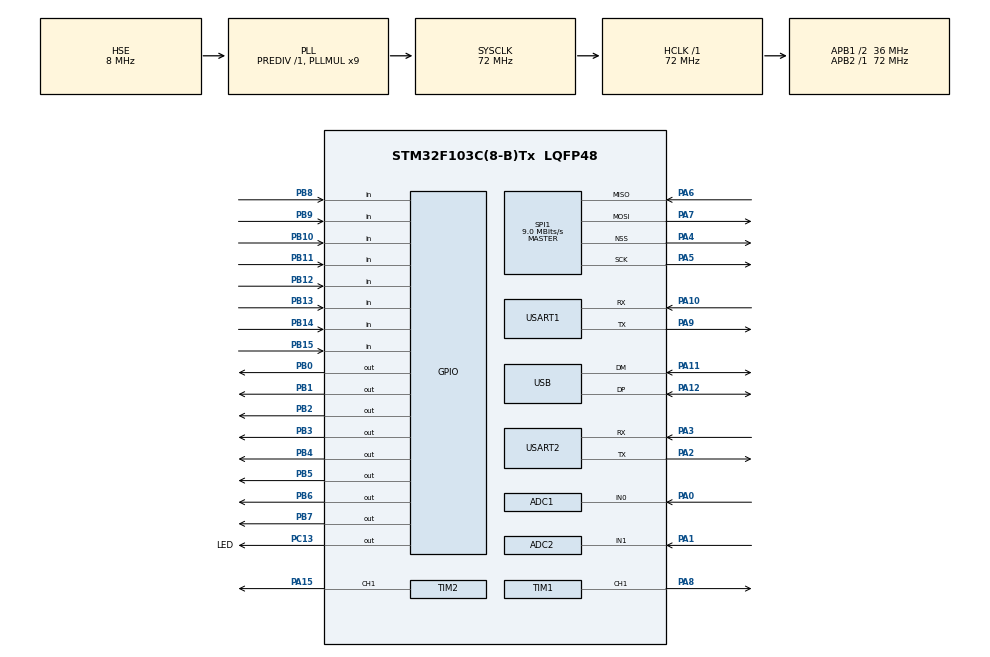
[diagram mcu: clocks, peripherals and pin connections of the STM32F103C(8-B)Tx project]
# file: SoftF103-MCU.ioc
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ADC1.Channel-0\#ChannelRegularConversion=ADC_CHANNEL_0
ADC1.Mode=__NULL
ADC1.NbrOfConversionFlag=1
ADC1.Rank-0\#ChannelRegularConversion=1
ADC1.SamplingTime-0\#ChannelRegularConversion=ADC_SAMPLETIME_239CYCLES_5
ADC1.master=1
ADC2.Channel-1\#ChannelRegularConversion=ADC_CHANNEL_1
ADC2.NbrOfConversionFlag=1
ADC2.Rank-1\#ChannelRegularConversion=1
ADC2.SamplingTime-1\#ChannelRegularConversion=ADC_SAMPLETIME_239CYCLES_5
Dma.ADC1.0.Direction=DMA_PERIPH_TO_MEMORY
Dma.ADC1.0.Instance=DMA1_Channel1
Dma.ADC1.0.MemDataAlignment=DMA_MDATAALIGN_HALFWORD
Dma.ADC1.0.MemInc=DMA_MINC_ENABLE
Dma.ADC1.0.Mode=DMA_NORMAL
Dma.ADC1.0.PeriphDataAlignment=DMA_PDATAALIGN_HALFWORD
Dma.ADC1.0.PeriphInc=DMA_PINC_DISABLE
Dma.ADC1.0.Priority=DMA_PRIORITY_LOW
Dma.Request0=ADC1
Mcu.Family=STM32F1
Mcu.Name=STM32F103C(8-B)Tx
Mcu.Package=LQFP48
NVIC.ADC1_2_IRQn=true\:12\:0\:true\:false\:true\:true\:true
NVIC.DMA1_Channel1_IRQn=true\:0\:0\:false\:false\:true\:false\:true
NVIC.PriorityGroup=NVIC_PRIORITYGROUP_4
NVIC.SPI1_IRQn=true\:9\:0\:true\:false\:true\:true\:true
NVIC.TIM1_UP_IRQn=true\:0\:0\:true\:false\:true\:true\:true
NVIC.TIM2_IRQn=true\:1\:0\:true\:false\:true\:true\:true
NVIC.USART1_IRQn=true\:10\:0\:true\:false\:true\:true\:true
NVIC.USART2_IRQn=true\:11\:0\:true\:false\:true\:true\:true
NVIC.USB_LP_CAN1_RX0_IRQn=true\:2\:0\:true\:false\:true\:false\:true
PA0-WKUP.Signal=ADCx_IN0
PA1.Signal=ADCx_IN1
PA10.GPIO_PuPd=GPIO_PULLUP
PA10.Mode=Asynchronous
PA10.Signal=USART1_RX
PA11.Mode=Device
PA11.Signal=USB_DM
PA12.Mode=Device
PA12.Signal=USB_DP
PA13.Mode=Serial_Wire
PA13.Signal=SYS_JTMS-SWDIO
PA14.Mode=Serial_Wire
PA14.Signal=SYS_JTCK-SWCLK
PA15.Signal=S_TIM2_CH1_ETR
PA2.Mode=Asynchronous
PA2.Signal=USART2_TX
PA3.GPIO_PuPd=GPIO_PULLUP
PA3.Mode=Asynchronous
PA3.Signal=USART2_RX
PA4.Mode=NSS_Signal_Hard_Output
PA4.Signal=SPI1_NSS
PA5.Mode=Full_Duplex_Master
PA5.Signal=SPI1_SCK
PA6.Mode=Full_Duplex_Master
PA6.Signal=SPI1_MISO
PA7.Mode=Full_Duplex_Master
PA7.Signal=SPI1_MOSI
PA8.Signal=S_TIM1_CH1
PA9.Mode=Asynchronous
PA9.Signal=USART1_TX
PB0.Signal=GPIO_Output
PB1.Signal=GPIO_Output
PB10.Signal=GPIO_Input
PB11.Signal=GPIO_Input
PB12.Signal=GPIO_Input
PB13.Signal=GPIO_Input
PB14.Signal=GPIO_Input
PB15.Signal=GPIO_Input
PB2.Signal=GPIO_Output
PB3.Signal=GPIO_Output
PB4.Signal=GPIO_Output
PB5.Signal=GPIO_Output
PB6.Signal=GPIO_Output
PB7.Signal=GPIO_Output
PB8.Signal=GPIO_Input
PB9.Signal=GPIO_Input
PC13-TAMPER-RTC.GPIO_Label=LED
PC13-TAMPER-RTC.Signal=GPIO_Output
PC14-OSC32_IN.Mode=LSE-External-Oscillator
PC14-OSC32_IN.Signal=RCC_OSC32_IN
PC15-OSC32_OUT.Mode=LSE-External-Oscillator
PC15-OSC32_OUT.Signal=RCC_OSC32_OUT
PD0-OSC_IN.Mode=HSE-External-Oscillator
PD0-OSC_IN.Signal=RCC_OSC_IN
PD1-OSC_OUT.Mode=HSE-External-Oscillator
PD1-OSC_OUT.Signal=RCC_OSC_OUT
ProjectManager.HeapSize=0x500
ProjectManager.StackSize=0x1500
ProjectManager.TargetToolchain=MDK-ARM V5
RCC.ADCPresc=RCC_ADCPCLK2_DIV6
RCC.AHBFreq_Value=72000000
RCC.APB1CLKDivider=RCC_HCLK_DIV2
RCC.APB1Freq_Value=36000000
RCC.APB1TimFreq_Value=72000000
RCC.APB2Freq_Value=72000000
RCC.APB2TimFreq_Value=72000000
RCC.HCLKFreq_Value=72000000
RCC.PLLMUL=RCC_PLL_MUL9
RCC.PLLSourceVirtual=RCC_PLLSOURCE_HSE
RCC.SYSCLKFreq_VALUE=72000000
RCC.SYSCLKSource=RCC_SYSCLKSOURCE_PLLCLK
RCC.USBFreq_Value=48000000
RCC.USBPrescaler=RCC_USBCLKSOURCE_PLL_DIV1_5
SH.ADCx_IN0.0=ADC1_IN0,IN0
SH.ADCx_IN1.0=ADC2_IN1,IN1
SH.S_TIM1_CH1.0=TIM1_CH1,PWM Generation1 CH1
SH.S_TIM2_CH1_ETR.0=TIM2_CH1,PWM Generation1 CH1
SPI1.BaudRatePrescaler=SPI_BAUDRATEPRESCALER_8
SPI1.CalculateBaudRate=9.0 MBits/s
SPI1.Direction=SPI_DIRECTION_2LINES
SPI1.Mode=SPI_MODE_MASTER
SPI1.VirtualNSS=VM_NSSHARD
SPI1.VirtualType=VM_MASTER
TIM1.Channel-PWM\ Generation1\ CH1=TIM_CHANNEL_1
TIM2.Channel-PWM\ Generation1\ CH1=TIM_CHANNEL_1
USART1.VirtualMode=VM_ASYNC
USART2.VirtualMode=VM_ASYNC
USB_DEVICE.CLASS_NAME_FS=CDC
USB_DEVICE.USBD_MAX_NUM_CONFIGURATION=2
USB_DEVICE.USBD_SELF_POWERED=0
USB_DEVICE.VirtualMode=Cdc
USB_DEVICE.VirtualModeFS=Cdc_FS
VP_USB_DEVICE_VS_USB_DEVICE_CDC_FS.Mode=CDC_FS
board=custom

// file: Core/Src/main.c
/* USER CODE BEGIN Header */
/**
  ******************************************************************************
  * @file           : main.c
  * @brief          : Main program body
  ******************************************************************************
  * @attention
  *
  * <h2><center>&copy; Copyright (c) 2019 STMicroelectronics.
  * All rights reserved.</center></h2>
  *
  * This software component is licensed by ST under BSD 3-Clause license,
  * the "License"; You may not use this file except in compliance with the
  * License. You may obtain a copy of the License at:
  *                        opensource.org/licenses/BSD-3-Clause
  *
  ******************************************************************************
  */
/* USER CODE END Header */

#include "main.h"
#include "adc.h"
#include "dma.h"
#include "spi.h"
#include "tim.h"
#include "usart.h"
#include "usb_device.h"
#include "gpio.h"

/* USER CODE BEGIN Includes */
#define EXTERN_MEM
#define MEM_INITIATOR
#include "softf103.h"
extern void usb_fifo_transmit(void);
SoftF103_Mem_t mem;
SoftIO_t sio;
void __aeabi_assert(const char *expr, const char *file, int line) {
  printf("assert failed: %s(%d): %s\n", file, line, expr); while(1);
}
int fputc(int ch, FILE *f) {
  while (fifo_full(&mem.logging));  // wait others to send
  fifo_enque(&mem.logging, ch);
  USART2->CR1 |= USART_CR1_TXEIE;  // enable tx empty interrupt
	return ch;
}
/* USER CODE END Includes */

void SystemClock_Config(void);

/* USER CODE BEGIN 0 */
void my_before(void* softio, SoftIO_Head_t* head) {
  uint8_t need_disable_irq = 0;
  if (head->type == SOFTIO_HEAD_TYPE_READ || head->type == SOFTIO_HEAD_TYPE_WRITE) {
    if (softio_is_variable_included(sio, *head, mem.gpio_count)) {  // atomic write
      need_disable_irq = 1;
    }
    if (softio_is_variable_included(sio, *head, mem.gpio_count_add)) {  // atomic write
      need_disable_irq = 1;
    }
    if (softio_is_variable_included(sio, *head, mem.adc_count)) {  // atomic write
      need_disable_irq = 1;
    }
    if (softio_is_variable_included(sio, *head, mem.adc_count_add)) {  // atomic write
      need_disable_irq = 1;
    }
  }
  if (head->type == SOFTIO_HEAD_TYPE_READ) {
    if (softio_is_variable_included(sio, *head, mem.gpio_in)) {  // wanna read variable
      mem.gpio_in = GPIOB->IDR >> 8;  // PB15 ~ PB8
    }
    uint8_t softio_is_variable_included_adc1 = softio_is_variable_included(sio, *head, mem.adc1);
    uint8_t softio_is_variable_included_adc2 = softio_is_variable_included(sio, *head, mem.adc2);
    if (softio_is_variable_included_adc1 || softio_is_variable_included_adc2) {
      if (softio_is_variable_included_adc1) mem.adc1 = 0;
      if (softio_is_variable_included_adc2) mem.adc2 = 0;
      if (HAL_ADC_Start(&hadc2) == HAL_OK && HAL_ADC_Start(&hadc1) == HAL_OK) {  // read simultaneous
        if (HAL_ADC_PollForConversion(&hadc2, 100) == HAL_OK && HAL_ADC_PollForConversion(&hadc1, 100) == HAL_OK) {  // timeout = 100ms
          if (softio_is_variable_included_adc1) mem.adc1 = HAL_ADC_GetValue(&hadc1);  // convert to 16bit
          if (softio_is_variable_included_adc2) mem.adc2 = HAL_ADC_GetValue(&hadc2);
        }
      }
    }
  }
  if (need_disable_irq) __disable_irq();
}
void my_after(void* softio, SoftIO_Head_t* head) {
  uint8_t need_enable_irq = 0;
  if (head->type == SOFTIO_HEAD_TYPE_WRITE) {
    if (softio_is_variable_included(sio, *head, mem.gpio_out)) {
      GPIOB->BSRR = mem.gpio_out | ( ((uint32_t)(~mem.gpio_out & 0x0ff))<<16 );  // atomic write
    }
    if (softio_is_variable_included(sio, *head, mem.led)) {
      HAL_GPIO_WritePin(LED_GPIO_Port, LED_Pin, mem.led);
    }
    if (softio_is_variable_included(sio, *head, mem.tim1_prescaler)) TIM1->PSC = mem.tim1_prescaler;
    if (softio_is_variable_included(sio, *head, mem.tim1_period)) TIM1->ARR = mem.tim1_period;
    if (softio_is_variable_included(sio, *head, mem.tim1_pulse)) TIM1->CCR1 = mem.tim1_pulse;
    if (softio_is_variable_included(sio, *head, mem.tim1_PWM)) {
      if (mem.tim1_PWM) {
        TIM1->CCER |= (uint32_t)(TIM_CCx_ENABLE << TIM_CHANNEL_1);  // enable pwm1
        TIM1->BDTR |= TIM_BDTR_MOE;  // only TIM1 needs this
        TIM1->CR1 |= TIM_CR1_CEN;  // enable peripheral
      } else {
        TIM1->CCER &= ~(uint32_t)(TIM_CCx_ENABLE << TIM_CHANNEL_1);  // disable pwm1
      }
    }
    if (softio_is_variable_included(sio, *head, mem.tim1_IT)) {
      if (mem.tim1_IT) {
        TIM1->DIER |= TIM_IT_UPDATE;  // enable interrupt
        TIM1->CR1 |= TIM_CR1_CEN;  // enable peripheral
      } else {
        TIM1->DIER &= ~TIM_IT_UPDATE;  // disable interrupt
      }
    }
    if (softio_is_variable_included(sio, *head, mem.tim2_prescaler)) TIM2->PSC = mem.tim2_prescaler;
    if (softio_is_variable_included(sio, *head, mem.tim2_period)) TIM2->ARR = mem.tim2_period;
    if (softio_is_variable_included(sio, *head, mem.tim2_pulse)) TIM2->CCR1 = mem.tim2_pulse;
    if (softio_is_variable_included(sio, *head, mem.tim2_PWM)) {
      if (mem.tim2_PWM) {
        TIM2->CCER |= (uint32_t)(TIM_CCx_ENABLE << TIM_CHANNEL_1);  // enable pwm1
        TIM2->CR1 |= TIM_CR1_CEN;  // enable peripheral
      } else {
        TIM2->CCER &= ~(uint32_t)(TIM_CCx_ENABLE << TIM_CHANNEL_1);  // disable pwm1
      }
    }
    if (softio_is_variable_included(sio, *head, mem.tim2_IT)) {
      if (mem.tim2_IT) {
        TIM2->DIER |= TIM_IT_UPDATE;  // enable interrupt
        TIM2->CR1 |= TIM_CR1_CEN;  // enable peripheral
      } else {
        TIM2->DIER &= ~TIM_IT_UPDATE;  // disable interrupt
      }
    }
  }
  if (head->type == SOFTIO_HEAD_TYPE_READ || head->type == SOFTIO_HEAD_TYPE_WRITE) {
    if (softio_is_variable_included(sio, *head, mem.gpio_count)) {  // atomic write
      need_enable_irq = 1;
    }
    if (softio_is_variable_included(sio, *head, mem.gpio_count_add)) {  // atomic write
      need_enable_irq = 1;
    }
    if (softio_is_variable_included(sio, *head, mem.adc_count)) {  // atomic write
      need_enable_irq = 1;
    }
    if (softio_is_variable_included(sio, *head, mem.adc_count_add)) {  // atomic write
      need_enable_irq = 1;
    }
  }
  if (need_enable_irq) __enable_irq();
}
// this function should be called first adc1 then adc2
uint8_t adc1_callback_ready = 0;
uint8_t adc2_callback_ready = 0;
uint16_t adc1_callback_val;
uint16_t adc2_callback_val;
void HAL_ADC_ConvCpltCallback(ADC_HandleTypeDef* hadc) {
  uint32_t adc = HAL_ADC_GetValue(hadc);
  if (hadc == &hadc1) {
    adc1_callback_val = adc;
    adc1_callback_ready = 1;
  } else {
    adc2_callback_val = adc;
    adc2_callback_ready = 1;
  }
  if (adc1_callback_ready && adc2_callback_ready) {
    if (fifo_remain(&mem.fifo1) < 4) {
      ++mem.adc_overflow;
    } else {
      // assert(adc1_callback_val < 4096 && adc2_callback_val < 4096);
      fifo_enque(&mem.fifo1, adc1_callback_val);
      fifo_enque(&mem.fifo1, adc1_callback_val >> 8);
      fifo_enque(&mem.fifo1, adc2_callback_val);
      fifo_enque(&mem.fifo1, adc2_callback_val >> 8);
    }
  }
}
/* USER CODE END 0 */

int main(void)
{

  /* MCU Configuration--------------------------------------------------------*/

  /* Reset of all peripherals, Initializes the Flash interface and the Systick. */
  HAL_Init();

  /* Configure the system clock */
  SystemClock_Config();

  /* USER CODE BEGIN SysInit */
  memory_init_user_code_begin_sys_init();
  sio.before = my_before;
	sio.after = my_after;
  /* USER CODE END SysInit */

  /* Initialize all configured peripherals */
  MX_GPIO_Init();
  MX_DMA_Init();
  MX_USB_DEVICE_Init();
  MX_ADC1_Init();
  MX_ADC2_Init();
  MX_SPI1_Init();
  MX_TIM1_Init();
  MX_TIM2_Init();
  MX_USART1_UART_Init();
  MX_USART2_UART_Init();
  /* USER CODE BEGIN 2 */
	print_info("SoftF103 on STM32F103C8T6, version 0x%08x, pid 0x%04X, compiled at %s, %s", mem.version, mem.pid, __TIME__, __DATE__);
	print_debug("mem size=%u, check this with your host to ensure struct correctness", sizeof(mem));
  SPI1->CR2 |= SPI_CR2_TXEIE;  // enable tx empty interrupt
  SPI1->CR2 |= SPI_CR2_RXNEIE;  // enable rx not empty interrupt
  SPI1->CR1 |= SPI_CR1_SPE;  // enable peripheral
  USART1->CR1 |= USART_CR1_TXEIE;  // enable tx empty interrupt
  USART1->CR1 |= USART_CR1_RXNEIE;  // enable rx not empty interrupt
  USART1->CR1 |= USART_CR1_UE;  // enable peripheral
  USART2->CR1 |= USART_CR1_TXEIE;  // enable tx empty interrupt
  USART2->CR1 |= USART_CR1_RXNEIE;  // enable rx not empty interrupt
  USART2->CR1 |= USART_CR1_UE;  // enable peripheral
  /* USER CODE END 2 */

  /* Infinite loop */
  /* USER CODE BEGIN WHILE */
  while (1)
  {
    softio_try_handle_all(sio);  // handle commands and return, non-blocking function
    usb_fifo_transmit();
    /* USER CODE END WHILE */

  }
}

void SystemClock_Config(void)
{
  RCC_OscInitTypeDef RCC_OscInitStruct = {0};
  RCC_ClkInitTypeDef RCC_ClkInitStruct = {0};
  RCC_PeriphCLKInitTypeDef PeriphClkInit = {0};

  /** Initializes the CPU, AHB and APB busses clocks
  */
  RCC_OscInitStruct.OscillatorType = RCC_OSCILLATORTYPE_HSE;
  RCC_OscInitStruct.HSEState = RCC_HSE_ON;
  RCC_OscInitStruct.HSEPredivValue = RCC_HSE_PREDIV_DIV1;
  RCC_OscInitStruct.HSIState = RCC_HSI_ON;
  RCC_OscInitStruct.PLL.PLLState = RCC_PLL_ON;
  RCC_OscInitStruct.PLL.PLLSource = RCC_PLLSOURCE_HSE;
  RCC_OscInitStruct.PLL.PLLMUL = RCC_PLL_MUL9;
  if (HAL_RCC_OscConfig(&RCC_OscInitStruct) != HAL_OK)
  {
    Error_Handler();
  }
  /** Initializes the CPU, AHB and APB busses clocks
  */
  RCC_ClkInitStruct.ClockType = RCC_CLOCKTYPE_HCLK|RCC_CLOCKTYPE_SYSCLK
                              |RCC_CLOCKTYPE_PCLK1|RCC_CLOCKTYPE_PCLK2;
  RCC_ClkInitStruct.SYSCLKSource = RCC_SYSCLKSOURCE_PLLCLK;
  RCC_ClkInitStruct.AHBCLKDivider = RCC_SYSCLK_DIV1;
  RCC_ClkInitStruct.APB1CLKDivider = RCC_HCLK_DIV2;
  RCC_ClkInitStruct.APB2CLKDivider = RCC_HCLK_DIV1;

  if (HAL_RCC_ClockConfig(&RCC_ClkInitStruct, FLASH_LATENCY_2) != HAL_OK)
  {
    Error_Handler();
  }
  PeriphClkInit.PeriphClockSelection = RCC_PERIPHCLK_ADC|RCC_PERIPHCLK_USB;
  PeriphClkInit.AdcClockSelection = RCC_ADCPCLK2_DIV6;
  PeriphClkInit.UsbClockSelection = RCC_USBCLKSOURCE_PLL_DIV1_5;
  if (HAL_RCCEx_PeriphCLKConfig(&PeriphClkInit) != HAL_OK)
  {
    Error_Handler();
  }
}

void Error_Handler(void)
{
}

/************************ (C) COPYRIGHT STMicroelectronics *****END OF FILE****/
